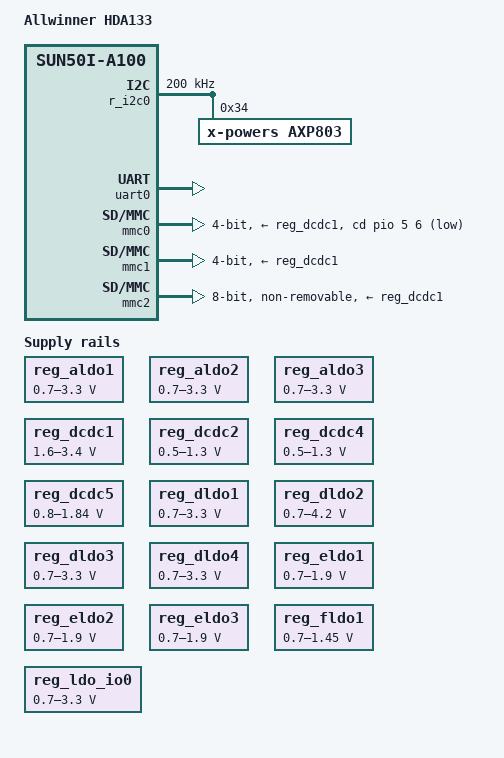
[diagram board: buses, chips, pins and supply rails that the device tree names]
// SPDX-License-Identifier: (GPL-2.0+ OR MIT)
/*
 * Copyright (c) 2020 Yangtao Li <frank@allwinnertech.com>
 */

/dts-v1/;

#include <dt-bindings/gpio/gpio.h>

#include "allwinner/sun50i-a100.dtsi"
#include "sun50i-a100-opp-table.dtsi"

/{
	model = "Allwinner HDA133";
	compatible = "allwinner,a100-perf1", "allwinner,sun50i-a100";

	aliases {
		serial0 = &uart0;
	};

	chosen {
		bootargs = "console=ttyS0,115200n8 earlycon";
		linux,stdout-path = &uart0;
	};

	reserved-memory {
		#address-cells = <2>;
		#size-cells = <2>;
		ranges;

		secmon@0x48000000 {
			reg = <0x0 0x48000000 0x0 0x200000>;
			no-map;
		};
	};
};

&pio {
	vcc-pb-supply = <&reg_dcdc1>;
	vcc-pc-supply = <&reg_eldo1>;
	vcc-pd-supply = <&reg_dcdc1>;
	vcc-pe-supply = <&reg_dldo2>;
	vcc-pf-supply = <&reg_dcdc1>;
	vcc-pg-supply = <&reg_dldo1>;
	vcc-ph-supply = <&reg_dcdc1>;
};

&r_pio {
	/*
	 * FIXME: We can't add that supply for now since it would
	 * create a circular dependency between pinctrl, the regulator
	 * and the RSB Bus.
	 *
	 * vcc-pl-supply = <&reg_aldo3>;
	 */
};

&r_i2c0 {
	status = "okay";
	clock-frequency = <200000>;
	axp803: pmic@34 {
		compatible = "x-powers,axp803";
		reg = <0x34>;
		interrupt-parent = <&r_intc>;
		interrupts = <0 IRQ_TYPE_LEVEL_LOW>;
		x-powers,drive-vbus-en; /* set N_VBUSEN as output pin */
	};
};

#include "axp803.dtsi"

&ac_power_supply {
	pmu_ac_vol = <4600>;
	pmu_ac_cur = <3000>;

	wakeup_ac_in;
	wakeup_ac_out;
	status = "okay";
};

&reg_aldo1 {
	regulator-min-microvolt = <700000>;
	regulator-max-microvolt = <3300000>;
	regulator-enable-ramp-delay = <1000>;
	regulator-boot-on;
	regulator-always-on;
	regulator-name = "vcc-pll-avcc";
};

&reg_aldo2 {
	regulator-min-microvolt = <700000>;
	regulator-max-microvolt = <3300000>;
	regulator-enable-ramp-delay = <1000>;
	regulator-always-on;
	regulator-name = "vcc-dram-1";
};

&reg_aldo3 {
	regulator-min-microvolt = <700000>;
	regulator-max-microvolt = <3300000>;
	regulator-enable-ramp-delay = <1000>;
	regulator-always-on;
	regulator-boot-on;
	regulator-name = "vcc-usb-pl";
};

&reg_dcdc1 {
	regulator-min-microvolt = <1600000>;
	regulator-max-microvolt = <3400000>;
	regulator-ramp-delay = <2500>;
	regulator-enable-ramp-delay = <1000>;
	regulator-boot-on;
	regulator-always-on;
	regulator-name = "vcc-io-usb-pd-emmc-nand-card";
};

&reg_dcdc2 {
	regulator-min-microvolt = <500000>;
	regulator-max-microvolt = <1300000>;
	regulator-ramp-delay = <2500>;
	regulator-enable-ramp-delay = <1000>;
	regulator-boot-on;
	regulator-always-on;
	regulator-name = "vdd-cpux";
};

/* DCDC3 is polyphased with DCDC2 */

&reg_dcdc4 {
	regulator-min-microvolt = <500000>;
	regulator-max-microvolt = <1300000>;
	regulator-ramp-delay = <2500>;
	regulator-enable-ramp-delay = <1000>;
	regulator-boot-on;
	regulator-always-on;
	regulator-name = "vdd-sys-usb-dram";
};

&reg_dcdc5 {
	regulator-min-microvolt = <800000>;
	regulator-max-microvolt = <1840000>;
	regulator-ramp-delay = <2500>;
	regulator-enable-ramp-delay = <1000>;
	regulator-always-on;
	regulator-name = "vcc-dram-2";
};

&reg_dldo1 {
	regulator-min-microvolt = <700000>;
	regulator-max-microvolt = <3300000>;
	regulator-enable-ramp-delay = <1000>;
	regulator-name = "vcc-pg-dcxo-wifi";
};

&reg_dldo2 {
	regulator-min-microvolt = <700000>;
	regulator-max-microvolt = <4200000>;
	regulator-enable-ramp-delay = <1000>;
	regulator-name = "vcc-pe-csi";
};

&reg_dldo3 {
	regulator-min-microvolt = <700000>;
	regulator-max-microvolt = <3300000>;
	regulator-enable-ramp-delay = <1000>;
	regulator-name = "ldo-avdd-csi";
};

&reg_dldo4 {
	regulator-min-microvolt = <700000>;
	regulator-max-microvolt = <3300000>;
	regulator-enable-ramp-delay = <1000>;
	regulator-name = "avcc-csi";
};

&reg_eldo1 {
	regulator-min-microvolt = <700000>;
	regulator-max-microvolt = <1900000>;
	regulator-enable-ramp-delay = <1000>;
	regulator-name = "vcc-pc-lvds-csi-efuse-emmc-nand";
};

&reg_eldo2 {
	regulator-min-microvolt = <700000>;
	regulator-max-microvolt = <1900000>;
	regulator-enable-ramp-delay = <1000>;
	regulator-name = "dvdd-csi";
};

&reg_eldo3 {
	regulator-min-microvolt = <700000>;
	regulator-max-microvolt = <1900000>;
	regulator-enable-ramp-delay = <1000>;
	regulator-name = "vcc-mipi-lcd";
};

&reg_fldo1 {
	regulator-min-microvolt = <700000>;
	regulator-max-microvolt = <1450000>;
	regulator-enable-ramp-delay = <1000>;
	regulator-always-on;
	regulator-name = "vdd-cpus-usb";
};

&reg_ldo_io0 {
	regulator-min-microvolt = <700000>;
	regulator-max-microvolt = <3300000>;
	regulator-enable-ramp-delay = <1000>;
	regulator-name = "vcc-ctp";
	status = "okay";
};

&reg_drivevbus {
	regulator-name = "usb0-vbus";
	status = "okay";
};

&uart0 {
	pinctrl-names = "default";
	pinctrl-0 = <&uart0_pb_pins>;
	uart-supply = <&reg_dcdc1>;
	status = "okay";
};

&mmc0 {
	cd-gpios = <&pio 5 6 GPIO_ACTIVE_LOW>;	/* PF6 */
	bus-width = <4>;
	cd-used-24M;
	cap-sd-highspeed;
	sd-uhs-sdr50;
	sd-uhs-ddr50;
	sd-uhs-sdr104;
	mmc-hs400-1_8v;
	mmc-hs200-1_8v;
	no-sdio;
	no-mmc;
	vmmc-supply = <&reg_dcdc1>;
	vqmmc2-supply = <&reg_dcdc1>;
	// vdmmc33sw-supply = <&reg_dcdc1>;
	vqmmc-supply = <&reg_eldo1>;
	// vdmmc18sw-supply = <&reg_eldo1>;
	max-frequency = <150000000>;
	status = "okay";
};

&mmc1 {
	bus-width = <4>;
	no-mmc;
	no-sd;
	cap-sd-highspeed;
	cap-sdio-irq;
	keep-power-in-suspend;
	ignore-pm-notify;
	max-frequency = <50000000>;
	ctl-spec-caps = <0x8>;
	vmmc-supply = <&reg_dcdc1>;
	status = "okay";
};

&mmc2 {
	non-removable;
	bus-width = <8>;
	mmc-ddr-1_8v;
	mmc-hs200-1_8v;
	mmc-hs400-1_8v;
	no-sdio;
	no-sd;
	ctl-spec-caps = <0x308>;
	cap-mmc-highspeed;
	max-frequency = <100000000>;
	vmmc-supply = <&reg_dcdc1>;
	/*emmc io vol 3.3v*/
	/*vqmmc-supply = <&reg_aldo1>;*/
	/*emmc io vol 1.8v*/
	vqmmc-supply = <&reg_eldo1>;
	status = "okay";
};
